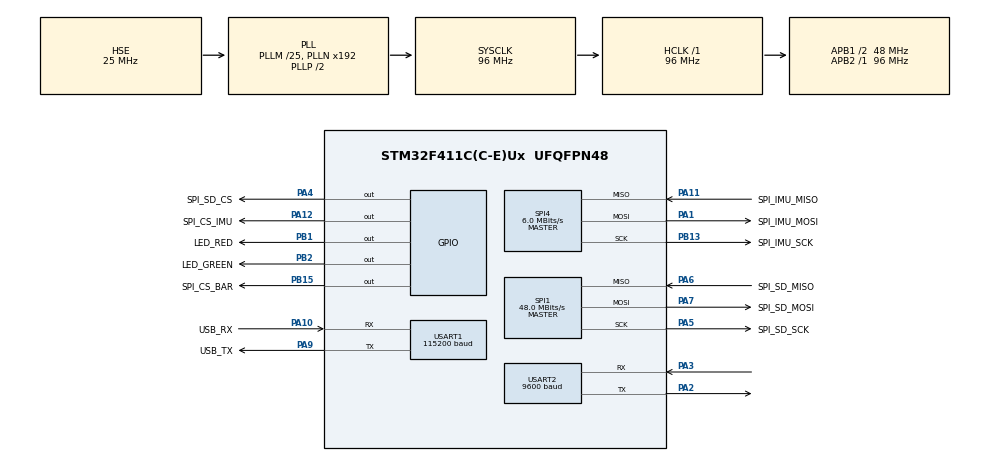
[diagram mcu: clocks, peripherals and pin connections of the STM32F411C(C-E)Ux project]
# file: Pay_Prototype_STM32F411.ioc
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Mcu.Family=STM32F4
Mcu.Name=STM32F411C(C-E)Ux
Mcu.Package=UFQFPN48
NVIC.PriorityGroup=NVIC_PRIORITYGROUP_4
NVIC.USART2_IRQn=true\:0\:0\:false\:false\:true\:true\:true\:true
PA1.GPIO_Label=SPI_IMU_MOSI
PA1.Mode=Full_Duplex_Master
PA1.Signal=SPI4_MOSI
PA10.GPIO_Label=USB_RX
PA10.Mode=Asynchronous
PA10.Signal=USART1_RX
PA11.GPIO_Label=SPI_IMU_MISO
PA11.Mode=Full_Duplex_Master
PA11.Signal=SPI4_MISO
PA12.GPIO_Label=SPI_CS_IMU
PA12.Signal=GPIO_Output
PA2.GPIO_ModeDefaultPP=GPIO_MODE_AF_PP
PA2.GPIO_PuPd=GPIO_NOPULL
PA2.GPIO_Speed=GPIO_SPEED_FREQ_VERY_HIGH
PA2.Mode=Asynchronous
PA2.Signal=USART2_TX
PA3.GPIO_ModeDefaultPP=GPIO_MODE_AF_PP
PA3.GPIO_PuPd=GPIO_NOPULL
PA3.GPIO_Speed=GPIO_SPEED_FREQ_VERY_HIGH
PA3.Mode=Asynchronous
PA3.Signal=USART2_RX
PA4.GPIO_Label=SPI_SD_CS
PA4.Signal=GPIO_Output
PA5.GPIO_Label=SPI_SD_SCK
PA5.Mode=Full_Duplex_Master
PA5.Signal=SPI1_SCK
PA6.GPIO_Label=SPI_SD_MISO
PA6.Mode=Full_Duplex_Master
PA6.Signal=SPI1_MISO
PA7.GPIO_Label=SPI_SD_MOSI
PA7.Mode=Full_Duplex_Master
PA7.Signal=SPI1_MOSI
PA9.GPIO_Label=USB_TX
PA9.Mode=Asynchronous
PA9.Signal=USART1_TX
PB1.GPIO_Label=LED_RED
PB1.Signal=GPIO_Output
PB13.GPIO_Label=SPI_IMU_SCK
PB13.Mode=Full_Duplex_Master
PB13.Signal=SPI4_SCK
PB15.GPIO_Label=SPI_CS_BAR
PB15.Signal=GPIO_Output
PB2.GPIO_Label=LED_GREEN
PB2.Signal=GPIO_Output
PH0\ -\ OSC_IN.Mode=HSE-External-Oscillator
PH0\ -\ OSC_IN.Signal=RCC_OSC_IN
PH1\ -\ OSC_OUT.Mode=HSE-External-Oscillator
PH1\ -\ OSC_OUT.Signal=RCC_OSC_OUT
ProjectManager.HeapSize=0x200
ProjectManager.StackSize=0x400
ProjectManager.TargetToolchain=STM32CubeIDE
RCC.48MHZClocksFreq_Value=48000000
RCC.AHBFreq_Value=96000000
RCC.APB1CLKDivider=RCC_HCLK_DIV2
RCC.APB1Freq_Value=48000000
RCC.APB1TimFreq_Value=96000000
RCC.APB2Freq_Value=96000000
RCC.APB2TimFreq_Value=96000000
RCC.CortexFreq_Value=96000000
RCC.HCLKFreq_Value=96000000
RCC.HSE_VALUE=25000000
RCC.HSI_VALUE=16000000
RCC.LSE_VALUE=32768
RCC.PLLM=25
RCC.PLLSourceVirtual=RCC_PLLSOURCE_HSE
RCC.SYSCLKFreq_VALUE=96000000
RCC.SYSCLKSource=RCC_SYSCLKSOURCE_PLLCLK
RCC.VCOOutputFreq_Value=192000000
SPI1.BaudRatePrescaler=SPI_BAUDRATEPRESCALER_2
SPI1.CalculateBaudRate=48.0 MBits/s
SPI1.Direction=SPI_DIRECTION_2LINES
SPI1.Mode=SPI_MODE_MASTER
SPI1.VirtualType=VM_MASTER
SPI4.BaudRatePrescaler=SPI_BAUDRATEPRESCALER_16
SPI4.CLKPhase=SPI_PHASE_2EDGE
SPI4.CLKPolarity=SPI_POLARITY_HIGH
SPI4.CalculateBaudRate=6.0 MBits/s
SPI4.Direction=SPI_DIRECTION_2LINES
SPI4.FirstBit=SPI_FIRSTBIT_MSB
SPI4.Mode=SPI_MODE_MASTER
SPI4.VirtualType=VM_MASTER
USART1.BaudRate=115200
USART1.VirtualMode=VM_ASYNC
USART2.BaudRate=9600
USART2.VirtualMode=VM_ASYNC
VP_FATFS_VS_Generic.Mode=User_defined
board=custom

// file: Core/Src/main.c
/* USER CODE BEGIN Header */
/**
  ******************************************************************************
  * @file           : main.c
  * @brief          : Main program body
  ******************************************************************************
  * @attention
  *
  * Copyright (c) 2024 STMicroelectronics.
  * All rights reserved.
  *
  * This software is licensed under terms that can be found in the LICENSE file
  * in the root directory of this software component.
  * If no LICENSE file comes with this software, it is provided AS-IS.
  *
  ******************************************************************************
  */
/* USER CODE END Header */
#include "main.h"
#include "fatfs.h"

/* USER CODE BEGIN Includes */
#include <string.h>
#include <stdio.h>
#include "GPS.h"
#include "IMU.h"
/* USER CODE END Includes */

SPI_HandleTypeDef hspi1;
SPI_HandleTypeDef hspi4;

UART_HandleTypeDef huart1;
UART_HandleTypeDef huart2;

void SystemClock_Config(void);
static void MX_GPIO_Init(void);
static void MX_SPI1_Init(void);
static void MX_SPI4_Init(void);
static void MX_USART1_UART_Init(void);
static void MX_USART2_UART_Init(void);
/* USER CODE BEGIN PFP */
//#define PUTCHAR_PROTOTYPE int __io_putchar(int ch)

#ifdef __GNUC__
#define PUTCHAR_PROTOTYPE int __io_putchar(int ch)
#else
#define PUTCHAR_PROTOTYPE int fputc(int ch, FILE *f)
#endif

/**
  * @brief  Retargets the C library printf function to the USART.
  *   None
  * @retval None
  */
PUTCHAR_PROTOTYPE
{
  /* Place your implementation of fputc here */
  /* e.g. write a character to the USART1 and Loop until the end of transmission */
  HAL_UART_Transmit(&huart1, (uint8_t *)&ch, 1, 0xFFFF);

  return ch;
}

int _write(int fd, char * ptr, int len)
{
	int DataIdx;

	for (DataIdx = 0; DataIdx < len; DataIdx++)
	{
		__io_putchar(*ptr++);
	}
	return len;
}

/* USER CODE END PFP */

int main(void)
{

  /* MCU Configuration--------------------------------------------------------*/

  /* Reset of all peripherals, Initializes the Flash interface and the Systick. */
  HAL_Init();

  /* Configure the system clock */
  SystemClock_Config();

  /* Initialize all configured peripherals */
  MX_GPIO_Init();
  MX_SPI1_Init();
  MX_SPI4_Init();
  MX_USART1_UART_Init();
  MX_USART2_UART_Init();
  MX_FATFS_Init();
  /* USER CODE BEGIN 2 */
  GPS gps;
  GPS_begin(huart2, &gps);

  HAL_GPIO_WritePin(SPI_CS_BAR_GPIO_Port, SPI_CS_BAR_Pin, SET);
  HAL_Delay(100);
  IMU icm;
  int no_imu_flag=0;
  do
  {
	  imu_begin(hspi4, SPI_CS_IMU_GPIO_Port, SPI_CS_IMU_Pin, &icm);
	  printf("%d\r\n",icm.status);

	  if(no_imu_flag!=0)
	  {
		  break;
	  }
	  HAL_Delay(200);
	  HAL_GPIO_TogglePin(LED_GREEN_GPIO_Port, LED_GREEN_Pin);
  }while(icm.status!=7);

  imu_get_initial_conditions(&icm,10000);

  int t1=0, t2=0, t_print=500;
  /* USER CODE END 2 */

  /* Infinite loop */
  /* USER CODE BEGIN WHILE */
  char GPS_Data[128];
  HAL_UART_Receive_IT(&huart2, GPS_Data, 128);

  while (1)
  {
	  if(icm.status==7)
	  {
		  printf(GPS_Data);
		  //GPS_Read(&gps);

		  imu_get_data(&icm);

		  t2=HAL_GetTick();
		  if(t2-t1>t_print)
		  {
//		  	  imu_print_mag_data_matlab(&icm);
//			  imu_print_data_matlab_attitude(&icm);
//			  imu_print_data_matlab_euler_n_pos(&icm);
//			  imu_print_data_matlab_raw_and_filtered(&icm);

			  imu_print_BF_info(&icm);
			  imu_print_data(&icm);
			  imu_print_att_data(&icm);
			  imu_print_att_data2(&icm);

			  //printf(gps.GPS_Data);

//			  printf(
//					  "\n\r"
//					  "%f	%f	%f"
//					  "\n\r"
//					  ,icm.Acc_X_f,icm.Acc_Y_f, icm.Acc_Z_f
//					  );

//			  printf("%d\r\n",t2-t1);
//			  printf("%.4f %.4f %.4f\r\n",icm.Gyro_dPhi,icm.Gyro_dTheta,icm.Gyro_dGama);
//
//			  printf("%.2f\r\n",icm.Mag_Abs);
//			  printf("%.2f\r\n",icm.Acc_Abs);

			  HAL_GPIO_TogglePin(LED_RED_GPIO_Port, LED_RED_Pin);

			  t1=t2;
		  }
//		  printf("%d %d %d"
//				" %d %d %d"
//				" %d %d %d"
//				"\n"
//				  ,icm.raw_Acc_X,icm.raw_Acc_Y,icm.raw_Acc_Z
//				  ,icm.raw_Gyro_X,icm.raw_Gyro_Y,icm.raw_Gyro_Z
//				  ,icm.raw_Mag_X,icm.raw_Mag_Y,icm.raw_Mag_Z
//				  );

		  //printf("%f %f %f\n",icm.Gyro_dPhi,icm.Gyro_dTheta,icm.Gyro_dGama);

//		  printf("%f %f %f %f %f %f"
//				  "\n",
//				  icm.Gyro_dPhi,icm.Gyro_dTheta,icm.Gyro_dGama
//				  ,icm.Gyro_Phi,icm.Gyro_Theta,icm.Gyro_Gama
//		  );

		  imu_check_status(&icm);
	  }
	  else
	  {
		  imu_reconect_handler(10, &icm);
		  HAL_GPIO_TogglePin(LED_GREEN_GPIO_Port, LED_GREEN_Pin);
	  }

	  //HAL_Delay(10);
    /* USER CODE END WHILE */

  }
}

void SystemClock_Config(void)
{
  RCC_OscInitTypeDef RCC_OscInitStruct = {0};
  RCC_ClkInitTypeDef RCC_ClkInitStruct = {0};

  /** Configure the main internal regulator output voltage
  */
  __HAL_RCC_PWR_CLK_ENABLE();
  __HAL_PWR_VOLTAGESCALING_CONFIG(PWR_REGULATOR_VOLTAGE_SCALE1);

  /** Initializes the RCC Oscillators according to the specified parameters
  * in the RCC_OscInitTypeDef structure.
  */
  RCC_OscInitStruct.OscillatorType = RCC_OSCILLATORTYPE_HSE;
  RCC_OscInitStruct.HSEState = RCC_HSE_ON;
  RCC_OscInitStruct.PLL.PLLState = RCC_PLL_ON;
  RCC_OscInitStruct.PLL.PLLSource = RCC_PLLSOURCE_HSE;
  RCC_OscInitStruct.PLL.PLLM = 25;
  RCC_OscInitStruct.PLL.PLLN = 192;
  RCC_OscInitStruct.PLL.PLLP = RCC_PLLP_DIV2;
  RCC_OscInitStruct.PLL.PLLQ = 4;
  if (HAL_RCC_OscConfig(&RCC_OscInitStruct) != HAL_OK)
  {
    Error_Handler();
  }

  /** Initializes the CPU, AHB and APB buses clocks
  */
  RCC_ClkInitStruct.ClockType = RCC_CLOCKTYPE_HCLK|RCC_CLOCKTYPE_SYSCLK
                              |RCC_CLOCKTYPE_PCLK1|RCC_CLOCKTYPE_PCLK2;
  RCC_ClkInitStruct.SYSCLKSource = RCC_SYSCLKSOURCE_PLLCLK;
  RCC_ClkInitStruct.AHBCLKDivider = RCC_SYSCLK_DIV1;
  RCC_ClkInitStruct.APB1CLKDivider = RCC_HCLK_DIV2;
  RCC_ClkInitStruct.APB2CLKDivider = RCC_HCLK_DIV1;

  if (HAL_RCC_ClockConfig(&RCC_ClkInitStruct, FLASH_LATENCY_3) != HAL_OK)
  {
    Error_Handler();
  }
}

static void MX_SPI1_Init(void)
{

  /* SPI1 parameter configuration*/
  hspi1.Instance = SPI1;
  hspi1.Init.Mode = SPI_MODE_MASTER;
  hspi1.Init.Direction = SPI_DIRECTION_2LINES;
  hspi1.Init.DataSize = SPI_DATASIZE_8BIT;
  hspi1.Init.CLKPolarity = SPI_POLARITY_LOW;
  hspi1.Init.CLKPhase = SPI_PHASE_1EDGE;
  hspi1.Init.NSS = SPI_NSS_SOFT;
  hspi1.Init.BaudRatePrescaler = SPI_BAUDRATEPRESCALER_2;
  hspi1.Init.FirstBit = SPI_FIRSTBIT_MSB;
  hspi1.Init.TIMode = SPI_TIMODE_DISABLE;
  hspi1.Init.CRCCalculation = SPI_CRCCALCULATION_DISABLE;
  hspi1.Init.CRCPolynomial = 10;
  if (HAL_SPI_Init(&hspi1) != HAL_OK)
  {
    Error_Handler();
  }

}

static void MX_SPI4_Init(void)
{

  /* SPI4 parameter configuration*/
  hspi4.Instance = SPI4;
  hspi4.Init.Mode = SPI_MODE_MASTER;
  hspi4.Init.Direction = SPI_DIRECTION_2LINES;
  hspi4.Init.DataSize = SPI_DATASIZE_8BIT;
  hspi4.Init.CLKPolarity = SPI_POLARITY_HIGH;
  hspi4.Init.CLKPhase = SPI_PHASE_2EDGE;
  hspi4.Init.NSS = SPI_NSS_SOFT;
  hspi4.Init.BaudRatePrescaler = SPI_BAUDRATEPRESCALER_16;
  hspi4.Init.FirstBit = SPI_FIRSTBIT_MSB;
  hspi4.Init.TIMode = SPI_TIMODE_DISABLE;
  hspi4.Init.CRCCalculation = SPI_CRCCALCULATION_DISABLE;
  hspi4.Init.CRCPolynomial = 10;
  if (HAL_SPI_Init(&hspi4) != HAL_OK)
  {
    Error_Handler();
  }

}

static void MX_USART1_UART_Init(void)
{

  huart1.Instance = USART1;
  huart1.Init.BaudRate = 115200;
  huart1.Init.WordLength = UART_WORDLENGTH_8B;
  huart1.Init.StopBits = UART_STOPBITS_1;
  huart1.Init.Parity = UART_PARITY_NONE;
  huart1.Init.Mode = UART_MODE_TX_RX;
  huart1.Init.HwFlowCtl = UART_HWCONTROL_NONE;
  huart1.Init.OverSampling = UART_OVERSAMPLING_16;
  if (HAL_UART_Init(&huart1) != HAL_OK)
  {
    Error_Handler();
  }

}

static void MX_USART2_UART_Init(void)
{

  huart2.Instance = USART2;
  huart2.Init.BaudRate = 9600;
  huart2.Init.WordLength = UART_WORDLENGTH_8B;
  huart2.Init.StopBits = UART_STOPBITS_1;
  huart2.Init.Parity = UART_PARITY_NONE;
  huart2.Init.Mode = UART_MODE_TX_RX;
  huart2.Init.HwFlowCtl = UART_HWCONTROL_NONE;
  huart2.Init.OverSampling = UART_OVERSAMPLING_16;
  if (HAL_UART_Init(&huart2) != HAL_OK)
  {
    Error_Handler();
  }

}

static void MX_GPIO_Init(void)
{
  GPIO_InitTypeDef GPIO_InitStruct = {0};

  /* GPIO Ports Clock Enable */
  __HAL_RCC_GPIOH_CLK_ENABLE();
  __HAL_RCC_GPIOA_CLK_ENABLE();
  __HAL_RCC_GPIOB_CLK_ENABLE();

  /*Configure GPIO pin Output Level */
  HAL_GPIO_WritePin(GPIOA, SPI_SD_CS_Pin|SPI_CS_IMU_Pin, GPIO_PIN_RESET);

  /*Configure GPIO pin Output Level */
  HAL_GPIO_WritePin(GPIOB, LED_RED_Pin|LED_GREEN_Pin|SPI_CS_BAR_Pin, GPIO_PIN_RESET);

  /*Configure GPIO pins : SPI_SD_CS_Pin SPI_CS_IMU_Pin */
  GPIO_InitStruct.Pin = SPI_SD_CS_Pin|SPI_CS_IMU_Pin;
  GPIO_InitStruct.Mode = GPIO_MODE_OUTPUT_PP;
  GPIO_InitStruct.Pull = GPIO_NOPULL;
  GPIO_InitStruct.Speed = GPIO_SPEED_FREQ_LOW;
  HAL_GPIO_Init(GPIOA, &GPIO_InitStruct);

  /*Configure GPIO pins : LED_RED_Pin LED_GREEN_Pin SPI_CS_BAR_Pin */
  GPIO_InitStruct.Pin = LED_RED_Pin|LED_GREEN_Pin|SPI_CS_BAR_Pin;
  GPIO_InitStruct.Mode = GPIO_MODE_OUTPUT_PP;
  GPIO_InitStruct.Pull = GPIO_NOPULL;
  GPIO_InitStruct.Speed = GPIO_SPEED_FREQ_LOW;
  HAL_GPIO_Init(GPIOB, &GPIO_InitStruct);

}

void Error_Handler(void)
{
  __disable_irq();
  while (1)
  {
  }
}
